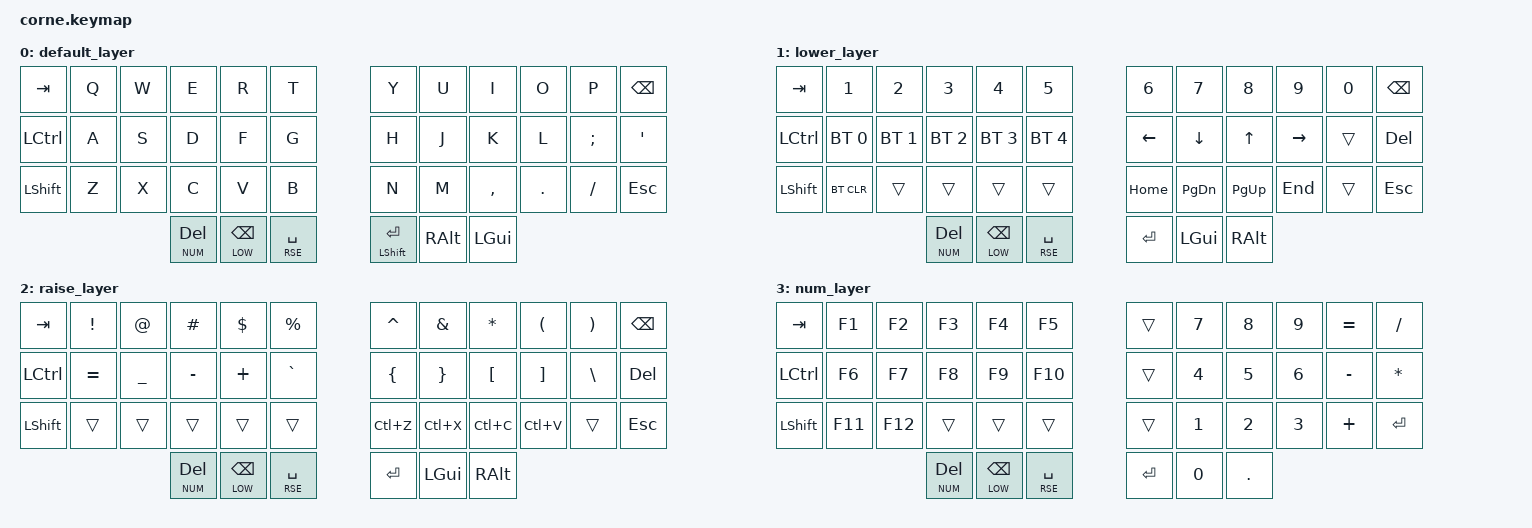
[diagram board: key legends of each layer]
/*
 * Copyright (c) 2020 The ZMK Contributors
 *
 * SPDX-License-Identifier: MIT
 */

#include <behaviors.dtsi>
#include <dt-bindings/zmk/keys.h>
#include <dt-bindings/zmk/bt.h>

#define DEF 0
#define LOW 1
#define RSE 2
#define NUM 3


#define COMBO(NAME, BINDINGS, KEYPOS) \
  combo_##NAME { \
    timeout-ms = <50>; \
    bindings = <BINDINGS>; \
    key-positions = <KEYPOS>; \
    layers = <0>; \
  };

 

/ {

   combos {
          compatible = "zmk,combos";
          COMBO(esckey, &kp ESC, 20 21) // j K
        };

    keymap {
      compatible = "zmk,keymap";

      default_layer {
        // -----------------------------------------------------------------------------------------
        // | (1) TAB  |  Q  |  W  |  E  |  R  | (6) T  |   | (7) Y  |  U   |  I  |  O  |  P  | (12) BKSP |
        // | (13) CTRL|  A  |  S  |  D  |  F  | (18) G |   | (19) H |  J   |  K  |  L  |  ;: | (24) ' "  |
        // | (25) SHFT|  Z  |  X  |  C  |  V  | (30) B |   | (31) N |  M   |  ,> |  .> |  /? | (36) ESC  |
        //                        |(37)DEL| BKSP| SPC |      |(40) ENT| GUI  | ALT |
        bindings = <
          &kp TAB     &kp Q         &kp W         &kp E         &kp R         &kp T         /**/ &kp Y     &kp U    &kp I       &kp O        &kp P      &kp BSPC
          &kp LCTRL   &kp A         &kp S         &kp D         &kp F         &kp G         /**/ &kp H     &kp J    &kp K       &kp L        &kp SEMI   &kp SQT
          &kp LSHFT   &kp Z         &kp X         &kp C         &kp V         &kp B         /**/ &kp N     &kp M    &kp COMMA   &kp DOT      &kp FSLH   &kp ESC
                                                  &lt NUM DEL   &lt LOW BSPC  &lt RSE SPACE /**/ &mt LSHFT RET &kp RALT &kp LGUI
        >;
      };
      
      lower_layer {
        // -----------------------------------------------------------------------------------------
        // | TAB  |  1  |  2  |  3  |  4  |  5  |   |  6  |  7  |  8  |  9  |  0  | BKSP |
        // | CTRL | BT1 | BT2 | BT3 | BT4 | BT5 |   | LFT | DWN |  UP | RGT |     | DEL  |
        // | SHFT |BTCLR|     |     |     |     |   | HOME| PGDN| PGUP| END |     | ESC  |
        //                    | DEL | XXX | SPC |   | ENT | GUI | ALT |
        bindings = <
          &kp TAB     &kp N1        &kp N2        &kp N3        &kp N4        &kp N5          /**/ &kp N6    &kp N7    &kp N8      &kp N9      &kp N0    &kp BSPC
          &kp LCTRL   &bt BT_SEL 0  &bt BT_SEL 1  &bt BT_SEL 2  &bt BT_SEL 3  &bt BT_SEL 4    /**/ &kp LEFT  &kp DOWN  &kp UP      &kp RIGHT   &trans    &kp DEL
          &kp LSHFT   &bt BT_CLR    &trans        &trans        &trans        &trans          /**/ &kp HOME  &kp PG_DN &kp PG_UP   &kp END     &trans    &kp ESC
                                                  &lt NUM DEL   &lt LOW BSPC  &lt RSE SPACE   /**/ &kp RET   &kp LGUI  &kp RALT
        >;
      };

      raise_layer {
        // -----------------------------------------------------------------------------------------
        // |  TAB |  !  |  @  |  #  |  $  |  %  |   |  ^  |  &  |  *  |  (  |  )  | BKSP |
        // | CTRL |  =  |  _  |  -  |  +  | `~  |   |  {  |  }  |  [  |  ]  | \"|"| DEL  |
        // | SHFT |     |     |     |     |     |   |     | CUT | CPY | PST |     | ESC  |
        //                    | DEL | BKSP| XXX |   | ENT | GUI | ALT |
        bindings = <
          &kp TAB     &kp EXCL      &kp AT        &kp HASH      &kp DLLR        &kp PRCNT      /**/ &kp CARET  &kp AMPS  &kp ASTRK  &kp LPAR  &kp RPAR &kp BSPC
          &kp LCTRL   &kp EQUAL     &kp UNDER     &kp MINUS     &kp PLUS        &kp GRAVE      /**/ &kp LBRC   &kp RBRC  &kp LBKT   &kp RBKT  &kp BSLH &kp DEL
          &kp LSHFT   &trans        &trans        &trans        &trans          &trans         /**/ &kp LC(Z)  &kp LC(X) &kp LC(C)  &kp LC(V) &trans   &kp ESC
                                                  &lt NUM DEL   &lt LOW BSPC    &lt RSE SPACE  /**/ &kp RET    &kp LGUI  &kp RALT
        >;
      };

      num_layer {
        // -----------------------------------------------------------------------------------------
        // | TAB  | F1 | F2 | F3 | F4 | F5 |      |   |  7  |  8  |  9  |  =  |  /  | 
        // | CTRL | F6 | F7 | F8 | F9 | F10|      |   |  4  |  5  |  6  |  -  |  *  | 
        // | SHFT | F11| F12|    |    |    |      |   |  1  |  2  |  3  |  +  | ENT |
        //                  | XXX|BKSP| SPC|      |ENT|  0  |  .  |
        bindings = <
          &kp TAB     &kp F1  &kp F2  &kp F3       &kp F4        &kp F5         /**/ &trans    &kp N7  &kp N8  &kp N9 &kp EQUAL  &kp FSLH
          &kp LCTRL   &kp F6  &kp F7  &kp F8       &kp F9        &kp F10        /**/ &trans    &kp N4  &kp N5  &kp N6 &kp MINUS  &kp ASTRK
          &kp LSHFT   &kp F11 &kp F12 &trans       &trans        &trans         /**/ &trans    &kp N1  &kp N2  &kp N3 &kp PLUS   &kp RET
                                      &lt NUM DEL  &lt LOW BSPC  &lt RSE SPACE  /**/ &kp RET   &kp N0  &kp DOT
        >;
      };
    };
  };
